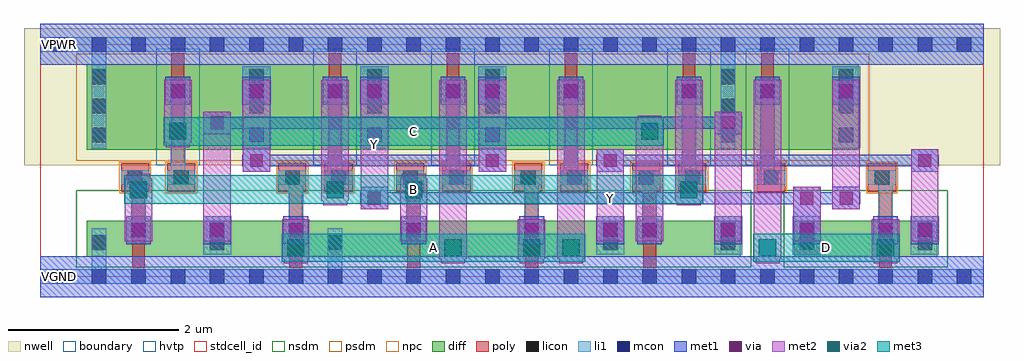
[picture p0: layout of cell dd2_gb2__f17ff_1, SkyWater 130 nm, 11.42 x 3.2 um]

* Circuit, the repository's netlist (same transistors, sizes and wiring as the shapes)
* Generated reference circuit; dimensions in micrometers.
.subckt dd2_gb2__f17ff_1 A B C D VGND VNB VPB VPWR Y
XM0 Y D _net1 VNB sky130_fd_pr__nfet_01v8 w=0.420 l=0.150
XM1 _net1 A _net2 VNB sky130_fd_pr__nfet_01v8 w=0.420 l=0.150
XM2 _net2 B VGND VNB sky130_fd_pr__nfet_01v8 w=0.420 l=0.150
XM3 _net1 C _net3 VNB sky130_fd_pr__nfet_01v8 w=0.420 l=0.150
XM4 _net3 A VGND VNB sky130_fd_pr__nfet_01v8 w=0.420 l=0.150
XM5 _net3 B VGND VNB sky130_fd_pr__nfet_01v8 w=0.420 l=0.150
XM6 Y D VPWR VPB sky130_fd_pr__pfet_01v8_hvt w=1.000 l=0.150
XM7 Y A _net4 VPB sky130_fd_pr__pfet_01v8_hvt w=1.000 l=0.150
XM8 Y B _net4 VPB sky130_fd_pr__pfet_01v8_hvt w=1.000 l=0.150
XM9 _net4 C VPWR VPB sky130_fd_pr__pfet_01v8_hvt w=1.000 l=0.150
XM10 _net4 A _net5 VPB sky130_fd_pr__pfet_01v8_hvt w=1.000 l=0.150
XM11 _net5 B VPWR VPB sky130_fd_pr__pfet_01v8_hvt w=1.000 l=0.150
.ends dd2_gb2__f17ff_1

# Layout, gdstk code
import gdstk
lib = gdstk.Library(unit=1e-6, precision=1e-09)
def R(c, l, rs):  # rectangles x0, y0, x1, y1
    for r in rs: c.add(gdstk.rectangle(r[:2], r[2:], *l))
def A(c, l, x, y, w, h, nx, ny, dx, dy):  # array of equal rectangles
    R(c, l, [(x+i*dx, y+j*dy, x+i*dx+w, y+j*dy+h) for i in range(nx) for j in range(ny)])
nwell = (64, 20)
diff = (65, 20)
poly = (66, 20)
licon = (66, 44)
li1 = (67, 20)
mcon = (67, 44)
met1 = (68, 20)
via = (68, 44)
met2 = (69, 20)
via2 = (69, 44)
met3 = (70, 20)
hvtp = (78, 44)
stdcell_id = (81, 4)
nsdm = (93, 44)
psdm = (94, 20)
npc = (95, 20)
boundary = (235, 4)

dd2_gb2__f17ff_1 = lib.new_cell('dd2_gb2__f17ff_1')
R(dd2_gb2__f17ff_1, nwell, [(-0.19,1.305,11.23,2.91)])
A(dd2_gb2__f17ff_1, diff, 2.53, 1.485, 1.38, 1, 4, 1, 1.38, 0)
R(dd2_gb2__f17ff_1, diff, [(0.545,0.235,2.07,0.655), (2.07,0.235,3.45,0.655), (3.45,0.235,4.83,0.655), (4.83,0.235,6.67,0.655), (6.67,0.235,8.195,0.655), (8.825,0.235,10.495,0.655), (0.545,1.485,2.53,2.485), (8.05,1.485,9.575,2.485)])
A(dd2_gb2__f17ff_1, poly, 2.915, 0.105, 0.15, 1.22, 4, 1, 1.38, 0)
A(dd2_gb2__f17ff_1, poly, 3.375, 0.995, 0.15, 1.62, 4, 1, 1.38, 0)
R(dd2_gb2__f17ff_1, poly, [(1.075,0.105,1.225,1.325), (9.815,0.105,9.965,1.325), (0.945,0.995,1.275,1.325), (1.485,0.995,1.815,1.325), (1.535,0.995,1.685,2.615), (2.785,0.995,3.115,1.325), (3.325,0.995,3.655,1.325), (4.165,0.995,4.495,1.325), (4.705,0.995,5.035,1.325), (5.545,0.995,5.875,1.325), (6.085,0.995,6.415,1.325), (6.925,0.995,7.255,1.325), (7.465,0.995,7.795,1.325), (8.385,0.995,8.715,1.325), (8.435,0.995,8.585,2.615), (9.685,0.995,10.015,1.325)])
A(dd2_gb2__f17ff_1, licon, 0.605, 0.315, 0.17, 0.17, 3, 1, 1.38, 0)
A(dd2_gb2__f17ff_1, licon, 0.605, 1.575, 0.17, 0.17, 1, 3, 0, 0.34)
A(dd2_gb2__f17ff_1, licon, 2.445, 1.575, 0.17, 0.17, 3, 3, 1.38, 0.34)
A(dd2_gb2__f17ff_1, licon, 7.965, 1.575, 0.17, 0.17, 1, 3, 0, 0.34)
A(dd2_gb2__f17ff_1, licon, 9.345, 1.575, 0.17, 0.17, 1, 3, 0, 0.34)
R(dd2_gb2__f17ff_1, licon, [(6.585,0.315,6.755,0.485), (7.965,0.315,8.135,0.485), (8.885,0.315,9.055,0.485), (10.265,0.315,10.435,0.485), (1.025,1.075,1.195,1.245), (1.565,1.075,1.735,1.245), (2.865,1.075,3.035,1.245), (3.405,1.075,3.575,1.245), (4.245,1.075,4.415,1.245), (4.785,1.075,4.955,1.245), (5.625,1.075,5.795,1.245), (6.165,1.075,6.335,1.245), (7.005,1.075,7.175,1.245), (7.545,1.075,7.715,1.245), (8.465,1.075,8.635,1.245), (9.765,1.075,9.935,1.245)])
A(dd2_gb2__f17ff_1, li1, 2.905, 0.38, 0.17, 0.33, 4, 1, 1.38, 0)
A(dd2_gb2__f17ff_1, li1, 2.905, 0.46, 0.17, 0.785, 4, 1, 1.38, 0)
A(dd2_gb2__f17ff_1, li1, 3.365, 1.075, 0.17, 1.185, 4, 1, 1.38, 0)
A(dd2_gb2__f17ff_1, li1, 2.365, 1.505, 0.33, 0.96, 3, 1, 1.38, 0)
A(dd2_gb2__f17ff_1, li1, 2.365, 2.01, 0.33, 0.33, 3, 1, 1.38, 0)
A(dd2_gb2__f17ff_1, li1, 3.365, 2.01, 0.17, 0.33, 4, 1, 1.38, 0)
R(dd2_gb2__f17ff_1, li1, [(0,-0.085,11.04,0.085), (0.605,-0.085,0.775,0.565), (3.365,-0.085,3.535,0.565), (1.905,0.255,2.235,0.635), (6.505,0.255,6.835,0.635), (7.885,0.255,8.215,0.635), (8.805,0.255,9.135,0.635), (10.185,0.255,10.515,0.635), (1.065,0.38,1.235,0.71), (1.905,0.38,2.235,0.71), (6.505,0.38,6.835,0.71), (7.885,0.38,8.215,0.71), (8.805,0.38,9.135,0.71), (9.805,0.38,9.975,0.71), (10.185,0.38,10.515,0.71), (1.065,0.46,1.235,1.245), (9.805,0.46,9.975,1.245), (0.945,1.075,1.275,1.245), (1.485,1.075,1.815,1.245), (1.525,1.075,1.695,2.26), (2.785,1.075,3.115,1.245), (3.325,1.075,3.655,1.245), (4.165,1.075,4.495,1.245), (4.705,1.075,5.035,1.245), (5.545,1.075,5.875,1.245), (6.085,1.075,6.415,1.245), (6.925,1.075,7.255,1.245), (7.465,1.075,7.795,1.245), (8.385,1.075,8.715,1.245), (8.425,1.075,8.595,2.26), (9.685,1.075,10.015,1.245), (0.605,1.495,0.775,2.805), (7.965,1.495,8.135,2.805), (9.265,1.505,9.595,2.465), (1.525,2.01,1.695,2.34), (8.425,2.01,8.595,2.34), (9.265,2.01,9.595,2.34), (0,2.635,11.04,2.805)])
A(dd2_gb2__f17ff_1, mcon, 0.145, -0.085, 0.17, 0.17, 24, 2, 0.46, 2.72)
A(dd2_gb2__f17ff_1, mcon, 1.065, 0.46, 0.17, 0.17, 3, 1, 0.92, 0)
A(dd2_gb2__f17ff_1, mcon, 7.045, 0.46, 0.17, 0.17, 4, 1, 0.92, 0)
A(dd2_gb2__f17ff_1, mcon, 1.525, 2.09, 0.17, 0.17, 3, 1, 0.92, 0)
A(dd2_gb2__f17ff_1, mcon, 7.505, 2.09, 0.17, 0.17, 3, 1, 0.92, 0)
R(dd2_gb2__f17ff_1, mcon, [(4.285,0.46,4.455,0.63), (5.665,0.46,5.835,0.63), (6.585,0.46,6.755,0.63), (10.265,0.46,10.435,0.63), (3.825,2.09,3.995,2.26), (4.745,2.09,4.915,2.26), (5.205,2.09,5.375,2.26), (6.125,2.09,6.295,2.26)])
A(dd2_gb2__f17ff_1, met1, 2.845, 0.38, 0.29, 0.33, 4, 1, 1.38, 0)
A(dd2_gb2__f17ff_1, met1, 2.365, 2.01, 0.33, 0.33, 3, 1, 1.38, 0)
A(dd2_gb2__f17ff_1, met1, 3.305, 2.01, 0.29, 0.33, 4, 1, 1.38, 0)
R(dd2_gb2__f17ff_1, met1, [(0,-0.24,11.04,0.24), (1.005,0.38,1.295,0.71), (1.905,0.38,2.235,0.71), (6.505,0.38,6.835,0.71), (7.885,0.38,8.215,0.71), (8.805,0.38,9.135,0.71), (9.745,0.38,10.035,0.71), (10.185,0.38,10.515,0.71), (8.81,0.545,9.13,0.92), (3.75,0.79,4.07,1.05), (8.81,0.79,9.13,1.05), (9.27,0.79,9.59,1.05), (3.745,0.85,9.595,0.99), (2.37,1.23,2.69,1.49), (5.13,1.23,5.45,1.49), (6.51,1.23,6.83,1.49), (10.19,1.23,10.51,1.49), (2.365,1.29,5.455,1.43), (6.505,1.29,10.515,1.43), (1.91,1.67,2.23,1.93), (7.89,1.67,8.21,1.93), (1.905,1.73,8.215,1.87), (1.465,2.01,1.755,2.34), (8.365,2.01,8.655,2.34), (9.265,2.01,9.595,2.34), (0,2.48,11.04,2.96)])
A(dd2_gb2__f17ff_1, via, 1.075, 0.47, 0.15, 0.15, 3, 1, 0.92, 0)
A(dd2_gb2__f17ff_1, via, 7.055, 0.47, 0.15, 0.15, 4, 1, 0.92, 0)
A(dd2_gb2__f17ff_1, via, 1.535, 2.1, 0.15, 0.15, 3, 1, 0.92, 0)
A(dd2_gb2__f17ff_1, via, 7.515, 2.1, 0.15, 0.15, 3, 1, 0.92, 0)
R(dd2_gb2__f17ff_1, via, [(4.295,0.47,4.445,0.62), (5.675,0.47,5.825,0.62), (6.595,0.47,6.745,0.62), (10.275,0.47,10.425,0.62), (3.835,0.845,3.985,0.995), (8.895,0.845,9.045,0.995), (9.355,0.845,9.505,0.995), (2.455,1.285,2.605,1.435), (5.215,1.285,5.365,1.435), (6.595,1.285,6.745,1.435), (10.275,1.285,10.425,1.435), (1.995,1.725,2.145,1.875), (7.975,1.725,8.125,1.875), (3.835,2.1,3.985,2.25), (4.755,2.1,4.905,2.25), (5.215,2.1,5.365,2.25), (6.135,2.1,6.285,2.25)])
R(dd2_gb2__f17ff_1, met2, [(2.85,0.155,3.13,0.525), (4.69,0.155,4.97,0.525), (5.61,0.155,5.89,0.525), (6.07,0.155,6.35,0.525), (8.37,0.155,8.65,0.525), (9.75,0.155,10.03,0.525), (2.83,0.21,3.15,0.675), (4.67,0.21,4.99,2.305), (5.59,0.21,5.91,0.675), (6.05,0.21,6.37,2.305), (8.35,0.21,8.67,2.305), (9.73,0.21,10.05,0.675), (0.99,0.415,1.31,1.15), (1.91,0.415,2.23,1.93), (4.21,0.415,4.53,1.15), (6.51,0.415,6.83,1.49), (6.97,0.415,7.29,1.83), (7.89,0.415,8.21,1.93), (8.81,0.415,9.13,1.05), (10.19,0.415,10.51,1.49), (3.75,0.79,4.07,2.305), (3.75,0.79,4.07,1.05), (8.81,0.79,9.13,1.05), (9.27,0.79,9.59,2.305), (9.27,0.79,9.59,1.05), (1.01,0.835,1.29,1.205), (3.31,0.835,3.59,1.205), (4.23,0.835,4.51,1.205), (7.45,0.835,7.73,1.205), (3.29,0.89,3.61,2.305), (7.43,0.89,7.75,2.305), (2.37,1.23,2.69,1.49), (2.37,1.23,2.69,2.305), (5.13,1.23,5.45,1.49), (5.13,1.23,5.45,2.305), (6.51,1.23,6.83,1.49), (10.19,1.23,10.51,1.49), (1.47,1.515,1.75,1.885), (6.99,1.515,7.27,1.885), (1.45,1.57,1.77,2.305), (1.91,1.67,2.23,1.93), (7.89,1.67,8.21,1.93)])
R(dd2_gb2__f17ff_1, via2, [(2.89,0.24,3.09,0.44), (4.73,0.24,4.93,0.44), (5.65,0.24,5.85,0.44), (6.11,0.24,6.31,0.44), (8.41,0.24,8.61,0.44), (9.79,0.24,9.99,0.44), (1.05,0.92,1.25,1.12), (3.35,0.92,3.55,1.12), (4.27,0.92,4.47,1.12), (7.49,0.92,7.69,1.12), (1.51,1.6,1.71,1.8), (7.03,1.6,7.23,1.8)])
R(dd2_gb2__f17ff_1, met3, [(2.825,0.175,6.375,0.505), (2.825,0.175,3.155,0.505), (4.665,0.175,4.995,0.505), (5.585,0.175,5.915,0.505), (6.045,0.175,6.375,0.505), (8.345,0.175,10.055,0.505), (8.345,0.175,8.675,0.505), (9.725,0.175,10.055,0.505), (0.985,0.855,7.755,1.185), (0.985,0.855,1.315,1.185), (3.285,0.855,3.615,1.185), (4.205,0.855,4.535,1.185), (7.425,0.855,7.755,1.185), (1.445,1.535,7.295,1.865), (1.445,1.535,1.775,1.865), (6.965,1.535,7.295,1.865)])
A(dd2_gb2__f17ff_1, hvtp, 3.195, 1.305, 0.51, 1.36, 4, 1, 1.38, 0)
R(dd2_gb2__f17ff_1, hvtp, [(1.355,1.305,1.865,2.665), (8.255,1.305,8.765,2.665)])
R(dd2_gb2__f17ff_1, stdcell_id, [(0,0,11.04,2.72)])
R(dd2_gb2__f17ff_1, nsdm, [(0.42,0.11,8.32,1.01), (8.7,0.11,10.62,1.01)])
R(dd2_gb2__f17ff_1, psdm, [(0.42,1.36,9.7,2.61)])
R(dd2_gb2__f17ff_1, npc, [(0.925,0.975,1.295,1.345), (1.465,0.975,1.835,1.345), (2.765,0.975,3.135,1.345), (3.305,0.975,3.675,1.345), (4.145,0.975,4.515,1.345), (4.685,0.975,5.055,1.345), (5.525,0.975,5.895,1.345), (6.065,0.975,6.435,1.345), (6.905,0.975,7.275,1.345), (7.445,0.975,7.815,1.345), (8.365,0.975,8.735,1.345), (9.665,0.975,10.035,1.345)])
R(dd2_gb2__f17ff_1, boundary, [(0,0,11.04,2.72)])
dd2_gb2__f17ff_1.add(gdstk.Label('VGND', (0.23,0), layer=68, texttype=5))
dd2_gb2__f17ff_1.add(gdstk.Label('VPWR', (0.23,2.72), layer=68, texttype=5))
dd2_gb2__f17ff_1.add(gdstk.Label('Y', (6.67,0.92), layer=68, texttype=5))
dd2_gb2__f17ff_1.add(gdstk.Label('Y', (3.91,1.545), layer=69, texttype=5))
dd2_gb2__f17ff_1.add(gdstk.Label('VPB', (0.23,2.72), layer=64, texttype=5))
dd2_gb2__f17ff_1.add(gdstk.Label('VNB', (0.23,0), layer=64, texttype=59))
dd2_gb2__f17ff_1.add(gdstk.Label('A', (4.6,0.34), layer=70, texttype=5))
dd2_gb2__f17ff_1.add(gdstk.Label('B', (4.37,1.02), layer=70, texttype=5))
dd2_gb2__f17ff_1.add(gdstk.Label('C', (4.37,1.7), layer=70, texttype=5))
dd2_gb2__f17ff_1.add(gdstk.Label('D', (9.2,0.34), layer=70, texttype=5))

lib.write_gds('dd2_gb2__f17ff_1.gds')
